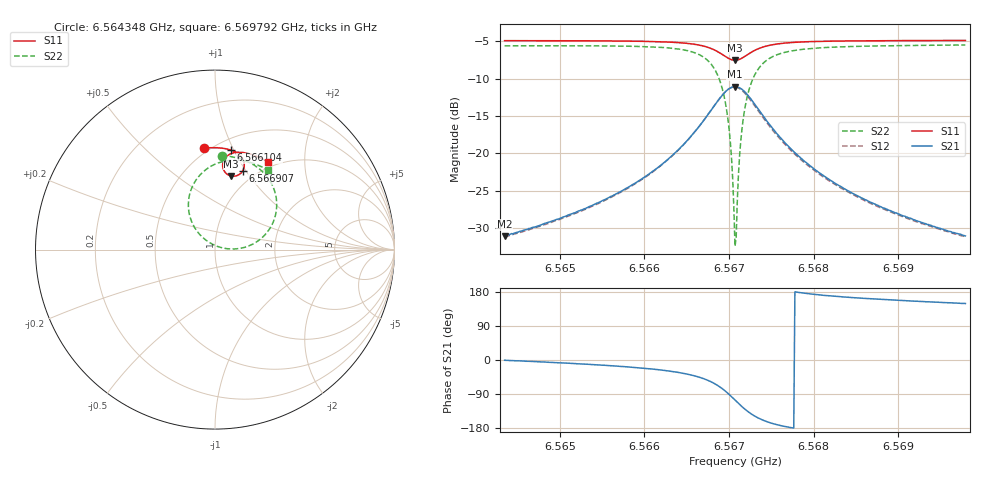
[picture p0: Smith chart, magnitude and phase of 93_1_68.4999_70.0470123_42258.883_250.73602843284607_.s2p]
#  HZ  S  RI  R  50.00
! Rohde & Schwarz Vector Network Analyzer
! Rohde-Schwarz,ZNB20-2Port,1311601062101988,3.16
! Created: UTC 3/20/2024, 5:07:52 PM
! freq[Hz]  re:S11  im:S11  re:S21  im:S21  re:S12  im:S12  re:S22  im:S22
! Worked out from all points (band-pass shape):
!   401 points, 6.564348 GHz to 6.569792 GHz, reference 50 ohm
!   highest |S21| = -11.06 dB at 6.56707 GHz (marker M1); lowest = -31.1 dB at 6.564348 GHz (marker M2)
!   |S21| within 3 dB of the highest: 6.566799 GHz to 6.567343 GHz (544.5 kHz wide, 0.00829 % of centre)
!   lowest |S11| = -7.5 dB at 6.56707 GHz (marker M3), VSWR 2.45, Z = 41.3 + j41.2 ohm
!   |S11| at or under -10 dB: nowhere
!   |S22| runs from -32.5 to -5.5 dB; largest |S21 - S12| = 0.013
!   S11 on the Smith chart (normalised r, x): 6.564348 GHz: 0.47, +0.78; 6.566104 GHz: 0.60, +0.98; 6.566907 GHz: 0.86, +0.97; 6.569792 GHz: 0.92, +1.33
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6.5643484e9  -0.0635 0.5655  0.0278 -0.000334  0.0275 -0.000883  0.0363 0.5242
6.5652601e9  0.0111 0.5678  0.041 -0.00775  0.0403 -0.00821  0.1223 0.5109
6.5661038e9  0.0897 0.5541  0.0695 -0.0311  0.0683 -0.0318  0.2314 0.4614
6.5661718e9  0.0969 0.5514  0.0732 -0.0354  0.072 -0.0363  0.2434 0.4527
6.5664712e9  0.1314 0.5321  0.0942 -0.0676  0.0927 -0.0689  0.3021 0.3891
6.566689e9  0.1565 0.5011  0.108 -0.1216  0.1056 -0.1241  0.3416 0.2849
6.5668114e9  0.1631 0.4699  0.1007 -0.1762  0.0964 -0.1795  0.334 0.181
6.5669067e9  0.1542 0.4386  0.0682 -0.23  0.0607 -0.233  0.276 0.0801
6.5669611e9  0.1394 0.4216  0.0315 -0.258  0.0216 -0.2594  0.2088 0.0298
6.5670019e9  0.1228 0.4125  -0.00519 -0.2716  -0.0164 -0.2708  0.142 0.00714
6.5670292e9  0.1101 0.4094  -0.033 -0.2749  -0.0444 -0.2724  0.0923 0.00319
6.5670564e9  0.0967 0.4091  -0.0612 -0.2729  -0.0729 -0.2683  0.0419 0.00933
6.56707e9  0.09 0.4103  -0.0754 -0.2697  -0.0868 -0.2641  0.017 0.0167
6.5670972e9  0.0771 0.4145  -0.1024 -0.2594  -0.1129 -0.2517  -0.029 0.0381
6.5671244e9  0.0656 0.4216  -0.1262 -0.2442  -0.1353 -0.235  -0.0688 0.0679
6.5671652e9  0.0525 0.4357  -0.1543 -0.2152  -0.1606 -0.2044  -0.1133 0.1224
6.5672197e9  0.0436 0.4573  -0.1757 -0.1721  -0.1785 -0.1612  -0.1436 0.2005
6.5672877e9  0.0437 0.4828  -0.1817 -0.1226  -0.1814 -0.113  -0.1455 0.2871
6.5675327e9  0.081 0.5307  -0.1397 -0.0276  -0.1367 -0.0235  -0.0493 0.4467
6.5679817e9  0.1441 0.5423  -0.0798 0.00864  -0.0779 0.0098  0.0867 0.4976
6.5688935e9  0.2286 0.5211  -0.0386 0.015  -0.0377 0.0153  0.2166 0.4793
6.5697916e9  0.2949 0.4886  -0.0239 0.0143  -0.0235 0.0144  0.2949 0.443
